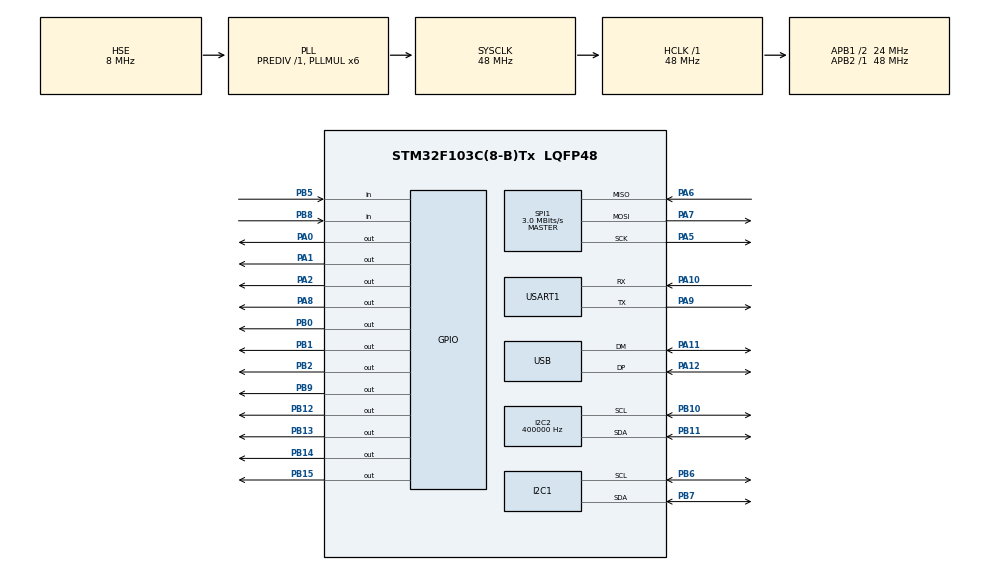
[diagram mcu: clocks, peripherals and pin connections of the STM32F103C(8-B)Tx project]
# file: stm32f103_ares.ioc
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I2C1.I2C_Mode=I2C_Standard
I2C2.ClockSpeed=400000
I2C2.I2C_Mode=I2C_Fast
Mcu.Family=STM32F1
Mcu.Name=STM32F103C(8-B)Tx
Mcu.Package=LQFP48
NVIC.PriorityGroup=NVIC_PRIORITYGROUP_4
PA0-WKUP.Signal=GPIO_Output
PA1.Signal=GPIO_Output
PA10.Mode=Asynchronous
PA10.Signal=USART1_RX
PA11.Mode=Device
PA11.Signal=USB_DM
PA12.Mode=Device
PA12.Signal=USB_DP
PA13.Mode=Trace_Asynchronous_SW
PA13.Signal=SYS_JTMS-SWDIO
PA14.Mode=Trace_Asynchronous_SW
PA14.Signal=SYS_JTCK-SWCLK
PA2.Signal=GPIO_Output
PA5.Mode=Full_Duplex_Master
PA5.Signal=SPI1_SCK
PA6.Mode=Full_Duplex_Master
PA6.Signal=SPI1_MISO
PA7.Mode=Full_Duplex_Master
PA7.Signal=SPI1_MOSI
PA8.Signal=GPIO_Output
PA9.Mode=Asynchronous
PA9.Signal=USART1_TX
PB0.Signal=GPIO_Output
PB1.Signal=GPIO_Output
PB10.Mode=I2C
PB10.Signal=I2C2_SCL
PB11.Mode=I2C
PB11.Signal=I2C2_SDA
PB12.Signal=GPIO_Output
PB13.Signal=GPIO_Output
PB14.Signal=GPIO_Output
PB15.Signal=GPIO_Output
PB2.Signal=GPIO_Output
PB3.Mode=Trace_Asynchronous_SW
PB3.Signal=SYS_JTDO-TRACESWO
PB5.GPIO_PuPd=GPIO_PULLDOWN
PB5.Signal=GPIO_Input
PB6.Mode=I2C
PB6.Signal=I2C1_SCL
PB7.Mode=I2C
PB7.Signal=I2C1_SDA
PB8.GPIO_PuPd=GPIO_PULLUP
PB8.Signal=GPIO_Input
PB9.Signal=GPIO_Output
PD0-OSC_IN.Mode=HSE-External-Oscillator
PD0-OSC_IN.Signal=RCC_OSC_IN
PD1-OSC_OUT.Mode=HSE-External-Oscillator
PD1-OSC_OUT.Signal=RCC_OSC_OUT
ProjectManager.HeapSize=0x200
ProjectManager.StackSize=0x400
ProjectManager.TargetToolchain=CMake
RCC.AHBFreq_Value=48000000
RCC.APB1CLKDivider=RCC_HCLK_DIV2
RCC.APB1Freq_Value=24000000
RCC.APB1TimFreq_Value=48000000
RCC.APB2Freq_Value=48000000
RCC.APB2TimFreq_Value=48000000
RCC.HCLKFreq_Value=48000000
RCC.PLLMUL=RCC_PLL_MUL6
RCC.SYSCLKFreq_VALUE=48000000
RCC.SYSCLKSource=RCC_SYSCLKSOURCE_PLLCLK
RCC.USBFreq_Value=48000000
SPI1.BaudRatePrescaler=SPI_BAUDRATEPRESCALER_16
SPI1.CalculateBaudRate=3.0 MBits/s
SPI1.Direction=SPI_DIRECTION_2LINES
SPI1.Mode=SPI_MODE_MASTER
SPI1.VirtualType=VM_MASTER
USART1.VirtualMode=VM_ASYNC
board=custom

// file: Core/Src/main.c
/* USER CODE BEGIN Header */
/**
 ******************************************************************************
 * @file           : main.c
 * @brief          : Main program body
 ******************************************************************************
 * @attention
 *
 * Copyright (c) 2024 STMicroelectronics.
 * All rights reserved.
 *
 * This software is licensed under terms that can be found in the LICENSE file
 * in the root directory of this software component.
 * If no LICENSE file comes with this software, it is provided AS-IS.
 *
 ******************************************************************************
 */
/* USER CODE END Header */
#include "main.h"

/* USER CODE BEGIN Includes */
#include <stdio.h>
#include <math.h>

/* USER CODE END Includes */

/* USER CODE BEGIN PTD */
enum states_e {
  NORMAL,
  FREE_FALL,
  TRIGGERED
};

/* USER CODE END PTD */

/* USER CODE BEGIN PD */
#define ENABLE_ACCEL_LED 1
#define ENABLE_TEMP 1

#define FREE_FALL_THRESH 50000000
#define TRIGGER_TIMEOUT 50   // *10 ms
/* USER CODE END PD */

I2C_HandleTypeDef hi2c1;
I2C_HandleTypeDef hi2c2;
uint8_t active_i2c;

SPI_HandleTypeDef hspi1;

UART_HandleTypeDef huart1;

PCD_HandleTypeDef hpcd_USB_FS;

void SystemClock_Config(void);
static void MX_GPIO_Init(void);
static void MX_I2C1_Init(void);
static void MX_I2C2_Init(void);
static void MX_SPI1_Init(void);
static void MX_USART1_UART_Init(void);
static void MX_USB_PCD_Init(void);
/* USER CODE BEGIN PFP */
void scanI2C();

/* USER CODE END PFP */

/* USER CODE BEGIN 0 */

/// @brief Overwrites the __io_putchar function in syscalls.c to use SWO for
/// printf  __io_putchar is called by printf to print characters to the console
int __io_putchar(int ch) {
  // Write character to ITM ch.0
  ITM_SendChar(ch);
  return (ch);
}

/// @brief Scan the I2C bus for devices. Prints out the addresses of devices
/// that respond.
void scanI2C(void) {
  for (uint8_t i = 0; i < 128; i++) {
    uint8_t ret = HAL_I2C_IsDeviceReady(&hi2c1, i, 1, 100);
    if (ret == HAL_OK) {
      printf("I2C device ready: I2C1: 0x%02X\n", i);
    }
    ret = HAL_I2C_IsDeviceReady(&hi2c2, i, 1, 100);
    if (ret == HAL_OK) {
      printf("I2C device ready: I2C2: 0x%02X\n", i);
    }
  }
}

/// @brief Read the temperature from LIS2DW12. See datasheet p35
/// @param
void I2C1_read_temperature(void) {
  // From documentation:
  // The temperature is available in OUT_T_L (0Dh), OUT_T_H (0Eh) stored as
  // two's complement data, left-justified in 12-bit mode
  uint8_t data[2];
  HAL_I2C_Mem_Read(&hi2c1, 0x30, 0x0D, I2C_MEMADD_SIZE_8BIT, data, 2, 100);
  int16_t temp_raw = (int16_t)((data[1] << 8) | data[0]);
  temp_raw >>= 4; // 12 bit value, so shifted right by 4
  float temperature = 25 + temp_raw / 16.0;
  // NO SUPPORT FOR FLOATING POINT IN PRINTF ENABLED
  uint16_t integerPart = (uint16_t)temperature;
  uint16_t fractionalPart =
      (uint16_t)((temperature - integerPart) * 100); // For 2 decimal places
  printf("Temperature: %d.%02d C\n", integerPart, fractionalPart);
}

/// @brief Read the WHOAMI register of the LIS2DW12. Should always return 0x44.
/// See datasheet p35
/// @param
void I2C1_read_whoami(void) {
  uint8_t data;
  HAL_I2C_Mem_Read(&hi2c1, 0x30, 0x0F, I2C_MEMADD_SIZE_8BIT, &data, 1, 100);
  printf("WHOAMI: 0x%02X\n", data);
}

/// @brief Setup the CTRL1 register of the LIS2DW12 to enable the accelerometer.
/// Set up: 0111 400Hz, 01 high performance mode, 00 LP-Mode 12 Bit resolution
/// (not needed). See datasheet p36
/// @param
void I2C1_setup_ctrl1(void) {
  // to register 20h, write 0b0111 01 00
  HAL_I2C_Mem_Write(&hi2c1, 0x30, 0x20, I2C_MEMADD_SIZE_8BIT, (uint8_t *)"\x74", 1, 100);
  HAL_I2C_Mem_Write(&hi2c2, 0x30, 0x20, I2C_MEMADD_SIZE_8BIT, (uint8_t *)"\x74", 1, 100);
}

/// @brief Read the CTRL1 register of the LIS2DW12, in order for the user to
/// verify it is set up correctly
void I2C1_read_ctrl1(void) {
  uint8_t data;
  HAL_I2C_Mem_Read(&hi2c1, 0x30, 0x20, I2C_MEMADD_SIZE_8BIT, &data, 1, 100);
  printf("CTRL1: 0x%02X\n", data);
}
typedef struct {
  int16_t x;
  int16_t y;
  int16_t z;
} xyz_t;

/// @brief Read the X, Y, Z values from the LIS2DW12. See datasheet p43/44
/// @return xyz_t struct containing the raw X, Y, Z values
xyz_t I2C1_read_xyz(void) {
  uint8_t data[6];
  // Read from 0x28 to 0x2D
  if (active_i2c == 1){
    uint8_t ret = HAL_I2C_Mem_Read(&hi2c1, 0x30, 0x28, I2C_MEMADD_SIZE_8BIT, data, 6, 100);
    if (ret != HAL_OK){
      active_i2c = 2;
      MX_I2C2_Init();
    }
  }
  if (active_i2c == 2){
    uint8_t ret = HAL_I2C_Mem_Read(&hi2c2, 0x30, 0x28, I2C_MEMADD_SIZE_8BIT, data, 6, 100);
    if (ret != HAL_OK){
      active_i2c = 1;
      MX_I2C1_Init();
    }
  }
  int16_t x = (int16_t)((data[1] << 8) | data[0]);
  int16_t y = (int16_t)((data[3] << 8) | data[2]);
  int16_t z = (int16_t)((data[5] << 8) | data[4]);
  printf("X: %d, Y: %d, Z: %d\n", x, y, z);
  return (xyz_t){x, y, z};
}

/// @brief Set the state of the red LED
/// @param state GPIO_PIN_SET or GPIO_PIN_RESET
void red_led_state(uint8_t state) {
  HAL_GPIO_WritePin(GPIOA, GPIO_PIN_0, state);
}

/// @brief Set the state of the yellow LED
/// @param state GPIO_PIN_SET or GPIO_PIN_RESET
void yellow_led_state(uint8_t state) {
  HAL_GPIO_WritePin(GPIOA, GPIO_PIN_1, state);
}

/// @brief Set the state of the green LED
/// @param state GPIO_PIN_SET or GPIO_PIN_RESET
void green_led_state(uint8_t state) {
  HAL_GPIO_WritePin(GPIOA, GPIO_PIN_2, state);
}

/// @brief Set the state of the trigger
/// @param state GPIO_PIN_SET or GPIO_PIN_RESET
void trigger_state(uint8_t state) {
  HAL_GPIO_WritePin(GPIOB, GPIO_PIN_5, !state);
  HAL_GPIO_WritePin(GPIOB, GPIO_PIN_9, !state);
  HAL_GPIO_WritePin(GPIOB, GPIO_PIN_13, state);
  HAL_GPIO_WritePin(GPIOB, GPIO_PIN_14, state);
}

/// @brief Initialize the SPI flash memory
void SPI_flash_init(
    void) { // TODO: UNTESTED, DOESN'T WORK YET - SPI FLASH NEEDS CS PIN!!!
  uint8_t initCommands[] = {0x06}; // Example command to wake up the flash
  HAL_SPI_Transmit(&hspi1, initCommands, sizeof(initCommands), 100);
}
/// @brief Write "Hello World" to the external SPI flash and then read it back
/// and print what it read
void SPI_flash_write_read(
    void) { // TODO: UNTESTED, DOESN'T WORK YET - SPI FLASH NEEDS CS PIN!!!
  uint8_t writeData[] = "Hello World";
  uint8_t readData[12] = {0};

  // Assuming the flash memory is already initialized and ready to use
  // Write "Hello World" to address 0x0000
  HAL_SPI_Transmit(&hspi1, writeData, sizeof(writeData), 100);

  // Read back the data from address 0x0000
  HAL_SPI_Receive(&hspi1, readData, sizeof(readData), 100);

  // Print the read data
  printf("Read from SPI flash: %s\n", readData);
}
/* USER CODE END 0 */
int main(void) {

  /* USER CODE BEGIN 1 */
  // SWO_Init(0x1, SystemCoreClock);

  /* USER CODE END 1 */

  /* MCU Configuration--------------------------------------------------------*/

  /* Reset of all peripherals, Initializes the Flash interface and the Systick.
   */
  HAL_Init();

  /* Configure the system clock */
  SystemClock_Config();

  /* Initialize all configured peripherals */
  MX_GPIO_Init();
  MX_I2C1_Init();
  MX_I2C2_Init();
  MX_SPI1_Init();
  MX_USART1_UART_Init();
  MX_USB_PCD_Init();
  /* USER CODE BEGIN 2 */
  uint32_t count = 0;
  I2C1_setup_ctrl1();
  active_i2c = 1;
  SPI_flash_init();
  enum states_e state = NORMAL;
  uint8_t free_fall_time = 0;
  xyz_t results;
  uint64_t accl_abs;
  trigger_state(GPIO_PIN_RESET);
  green_led_state(GPIO_PIN_SET);
  yellow_led_state(GPIO_PIN_RESET);
  red_led_state(GPIO_PIN_RESET);
  /* USER CODE END 2 */

  /* Infinite loop */
  while (1) {

    /* USER CODE BEGIN 3 */
#if ENABLE_TEMP
    if (count % 100 == 0) {
      I2C1_read_temperature();
    }
#endif
#if ENABLE_ACCEL_LED
    // if (count % 10 == 0) {
    switch(state) {
      case NORMAL:
        results = I2C1_read_xyz();
        accl_abs = pow(results.x,2) + pow(results.y,2) + pow(results.z,2);
        if (accl_abs < FREE_FALL_THRESH) {
          state = FREE_FALL;
          green_led_state(GPIO_PIN_RESET);
          yellow_led_state(GPIO_PIN_SET);
        }
        break;

      case FREE_FALL:
        free_fall_time ++;
        results = I2C1_read_xyz();
        accl_abs = pow(results.x,2) + pow(results.y,2) + pow(results.z,2);
        if (accl_abs >= FREE_FALL_THRESH) {
          state = NORMAL;
          free_fall_time = 0;
          yellow_led_state(GPIO_PIN_RESET);
          green_led_state(GPIO_PIN_SET);
        }
        if (free_fall_time > TRIGGER_TIMEOUT) {
          state = TRIGGERED;
          green_led_state(GPIO_PIN_RESET);
          yellow_led_state(GPIO_PIN_RESET);
          red_led_state(GPIO_PIN_SET);
          trigger_state(GPIO_PIN_SET);
        }
        break;

      case TRIGGERED:
        break;

      default:
        state = NORMAL;
        break;
    }
    // }
#endif
    HAL_Delay(10);
    count++;
  }
  /* USER CODE END 3 */
}

void SystemClock_Config(void) {
  RCC_OscInitTypeDef RCC_OscInitStruct = {0};
  RCC_ClkInitTypeDef RCC_ClkInitStruct = {0};
  RCC_PeriphCLKInitTypeDef PeriphClkInit = {0};

  /** Initializes the RCC Oscillators according to the specified parameters
   * in the RCC_OscInitTypeDef structure.
   */
  RCC_OscInitStruct.OscillatorType = RCC_OSCILLATORTYPE_HSE;
  RCC_OscInitStruct.HSEState = RCC_HSE_ON;
  RCC_OscInitStruct.HSEPredivValue = RCC_HSE_PREDIV_DIV1;
  RCC_OscInitStruct.HSIState = RCC_HSI_ON;
  RCC_OscInitStruct.PLL.PLLState = RCC_PLL_ON;
  RCC_OscInitStruct.PLL.PLLSource = RCC_PLLSOURCE_HSE;
  RCC_OscInitStruct.PLL.PLLMUL = RCC_PLL_MUL6;
  if (HAL_RCC_OscConfig(&RCC_OscInitStruct) != HAL_OK) {
    Error_Handler();
  }

  /** Initializes the CPU, AHB and APB buses clocks
   */
  RCC_ClkInitStruct.ClockType = RCC_CLOCKTYPE_HCLK | RCC_CLOCKTYPE_SYSCLK |
                                RCC_CLOCKTYPE_PCLK1 | RCC_CLOCKTYPE_PCLK2;
  RCC_ClkInitStruct.SYSCLKSource = RCC_SYSCLKSOURCE_PLLCLK;
  RCC_ClkInitStruct.AHBCLKDivider = RCC_SYSCLK_DIV1;
  RCC_ClkInitStruct.APB1CLKDivider = RCC_HCLK_DIV2;
  RCC_ClkInitStruct.APB2CLKDivider = RCC_HCLK_DIV1;

  if (HAL_RCC_ClockConfig(&RCC_ClkInitStruct, FLASH_LATENCY_1) != HAL_OK) {
    Error_Handler();
  }
  PeriphClkInit.PeriphClockSelection = RCC_PERIPHCLK_USB;
  PeriphClkInit.UsbClockSelection = RCC_USBCLKSOURCE_PLL;
  if (HAL_RCCEx_PeriphCLKConfig(&PeriphClkInit) != HAL_OK) {
    Error_Handler();
  }
}

static void MX_I2C1_Init(void) {

  hi2c1.Instance = I2C1;
  hi2c1.Init.ClockSpeed = 100000;
  hi2c1.Init.DutyCycle = I2C_DUTYCYCLE_2;
  hi2c1.Init.OwnAddress1 = 0;
  hi2c1.Init.AddressingMode = I2C_ADDRESSINGMODE_7BIT;
  hi2c1.Init.DualAddressMode = I2C_DUALADDRESS_DISABLE;
  hi2c1.Init.OwnAddress2 = 0;
  hi2c1.Init.GeneralCallMode = I2C_GENERALCALL_DISABLE;
  hi2c1.Init.NoStretchMode = I2C_NOSTRETCH_DISABLE;
  if (HAL_I2C_Init(&hi2c1) != HAL_OK) {
    Error_Handler();
  }
}

static void MX_I2C2_Init(void) {

  hi2c2.Instance = I2C2;
  hi2c2.Init.ClockSpeed = 400000;
  hi2c2.Init.DutyCycle = I2C_DUTYCYCLE_2;
  hi2c2.Init.OwnAddress1 = 0;
  hi2c2.Init.AddressingMode = I2C_ADDRESSINGMODE_7BIT;
  hi2c2.Init.DualAddressMode = I2C_DUALADDRESS_DISABLE;
  hi2c2.Init.OwnAddress2 = 0;
  hi2c2.Init.GeneralCallMode = I2C_GENERALCALL_DISABLE;
  hi2c2.Init.NoStretchMode = I2C_NOSTRETCH_DISABLE;
  if (HAL_I2C_Init(&hi2c2) != HAL_OK) {
    Error_Handler();
  }
}

static void MX_SPI1_Init(void) {

  /* SPI1 parameter configuration*/
  hspi1.Instance = SPI1;
  hspi1.Init.Mode = SPI_MODE_MASTER;
  hspi1.Init.Direction = SPI_DIRECTION_2LINES;
  hspi1.Init.DataSize = SPI_DATASIZE_8BIT;
  hspi1.Init.CLKPolarity = SPI_POLARITY_LOW;
  hspi1.Init.CLKPhase = SPI_PHASE_1EDGE;
  hspi1.Init.NSS = SPI_NSS_SOFT;
  hspi1.Init.BaudRatePrescaler = SPI_BAUDRATEPRESCALER_16;
  hspi1.Init.FirstBit = SPI_FIRSTBIT_MSB;
  hspi1.Init.TIMode = SPI_TIMODE_DISABLE;
  hspi1.Init.CRCCalculation = SPI_CRCCALCULATION_DISABLE;
  hspi1.Init.CRCPolynomial = 10;
  if (HAL_SPI_Init(&hspi1) != HAL_OK) {
    Error_Handler();
  }
}

static void MX_USART1_UART_Init(void) {

  huart1.Instance = USART1;
  huart1.Init.BaudRate = 115200;
  huart1.Init.WordLength = UART_WORDLENGTH_8B;
  huart1.Init.StopBits = UART_STOPBITS_1;
  huart1.Init.Parity = UART_PARITY_NONE;
  huart1.Init.Mode = UART_MODE_TX_RX;
  huart1.Init.HwFlowCtl = UART_HWCONTROL_NONE;
  huart1.Init.OverSampling = UART_OVERSAMPLING_16;
  if (HAL_UART_Init(&huart1) != HAL_OK) {
    Error_Handler();
  }
}

static void MX_USB_PCD_Init(void) {

  hpcd_USB_FS.Instance = USB;
  hpcd_USB_FS.Init.dev_endpoints = 8;
  hpcd_USB_FS.Init.speed = PCD_SPEED_FULL;
  hpcd_USB_FS.Init.low_power_enable = DISABLE;
  hpcd_USB_FS.Init.lpm_enable = DISABLE;
  hpcd_USB_FS.Init.battery_charging_enable = DISABLE;
  if (HAL_PCD_Init(&hpcd_USB_FS) != HAL_OK) {
    Error_Handler();
  }
}

static void MX_GPIO_Init(void) {
  GPIO_InitTypeDef GPIO_InitStruct = {0};

  /* GPIO Ports Clock Enable */
  __HAL_RCC_GPIOD_CLK_ENABLE();
  __HAL_RCC_GPIOA_CLK_ENABLE();
  __HAL_RCC_GPIOB_CLK_ENABLE();

  /*Configure GPIO pin Output Level */
  HAL_GPIO_WritePin(GPIOA, GPIO_PIN_0 | GPIO_PIN_1 | GPIO_PIN_2 | GPIO_PIN_8,
                    GPIO_PIN_RESET);

  /*Configure GPIO pin Output Level */
  HAL_GPIO_WritePin(GPIOB,
                    GPIO_PIN_0 | GPIO_PIN_1 | GPIO_PIN_2 | GPIO_PIN_12 |
                        GPIO_PIN_13 | GPIO_PIN_14 | GPIO_PIN_15 | GPIO_PIN_9,
                    GPIO_PIN_RESET);

  /*Configure GPIO pins : PA0 PA1 PA2 PA8 */
  GPIO_InitStruct.Pin = GPIO_PIN_0 | GPIO_PIN_1 | GPIO_PIN_2 | GPIO_PIN_8;
  GPIO_InitStruct.Mode = GPIO_MODE_OUTPUT_PP;
  GPIO_InitStruct.Pull = GPIO_NOPULL;
  GPIO_InitStruct.Speed = GPIO_SPEED_FREQ_LOW;
  HAL_GPIO_Init(GPIOA, &GPIO_InitStruct);

  /*Configure GPIO pins : PB0 PB1 PB2 PB12
                           PB13 PB14 PB15 PB9 */
  GPIO_InitStruct.Pin = GPIO_PIN_5 | GPIO_PIN_9;
  GPIO_InitStruct.Mode = GPIO_MODE_OUTPUT_PP;
  GPIO_InitStruct.Pull = GPIO_PULLUP;
  GPIO_InitStruct.Speed = GPIO_SPEED_FREQ_LOW;
  HAL_GPIO_Init(GPIOB, &GPIO_InitStruct);

  /*Configure GPIO pins : PB0 PB1 PB2 PB12
                           PB13 PB14 PB15 PB9 */
                           GPIO_InitStruct.Pin = GPIO_PIN_13 | GPIO_PIN_14;
     GPIO_InitStruct.Mode = GPIO_MODE_OUTPUT_PP;
     GPIO_InitStruct.Pull = GPIO_PULLDOWN;
     GPIO_InitStruct.Speed = GPIO_SPEED_FREQ_LOW;
     HAL_GPIO_Init(GPIOB, &GPIO_InitStruct);

}

void Error_Handler(void) {
  /* USER CODE BEGIN Error_Handler_Debug */
  /* User can add his own implementation to report the HAL error return state
   */
  __disable_irq();
  while (1) {
  }
  /* USER CODE END Error_Handler_Debug */
}

#ifdef USE_FULL_ASSERT
/**
 * @brief  Reports the name of the source file and the source line number
 *         where the assert_param error has occurred.
 * @param  file: pointer to the source file name
 * @param  line: assert_param error line source number
 * @retval None
 */
void assert_failed(uint8_t *file, uint32_t line) {
  /* USER CODE BEGIN 6 */
  /* User can add his own implementation to report the file name and line
     number, ex: printf("Wrong parameters value: file %s on line %d\r\n",
     file, line) */
  /* USER CODE END 6 */
}
#endif /* USE_FULL_ASSERT */
